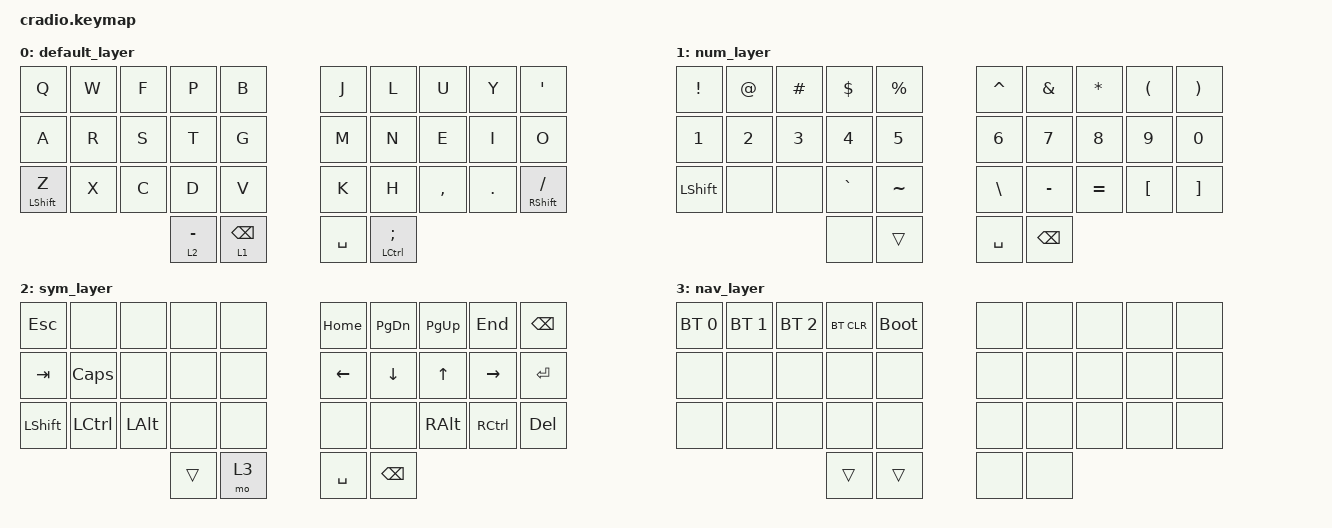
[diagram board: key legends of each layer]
/*
 * Copyright (c) 2020 The ZMK Contributors
 *
 * SPDX-License-Identifier: MIT
 */

#include <behaviors.dtsi>
#include <dt-bindings/zmk/keys.h>
#include <dt-bindings/zmk/bt.h>


#define DEFAULT 0
#define NUM     1
#define SYM     2
#define NAV     3
#define QWERTY  4
/ {         
     behaviors {
          hm: homerow_mods {
                  compatible = "zmk,behavior-hold-tap";
                  label = "HOMEROW_MODS";
                  #binding-cells = <2>;
                  tapping-term-ms = <150>;
                  quick-tap-ms = <100>;
                  flavor = "tap-preferred";
                  bindings = <&kp>, <&kp>;
		  
        };
};
    
        
    };
    
/ {
   keymap {
           compatible = "zmk,keymap";
                
       	default_layer {
	bindings = <
	&kp Q        &kp W  &kp F  &kp P  &kp B     &kp J  &kp  L  &kp U      &kp Y    &kp APOS
	&kp A        &kp R  &kp S  &kp T  &kp G     &kp M  &kp  N  &kp E      &kp I    &kp O
	&mt LSHFT Z  &kp X  &kp C  &kp D  &kp V     &kp K  &kp  H  &kp COMMA  &kp DOT  &mt RSHFT FSLH
       		         &lt 2 MINUS &lt 1 BSPC     &kp SPACE &mt LCTRL SEMI 
		>;
		};

       	num_layer {
	bindings = <
	&kp EXCL   &kp AT  &kp POUND  &kp DLLR   &kp PRCNT     &kp CARET &kp AMPS   &kp ASTRK  &kp LPAR  &kp RPAR
	&kp N1     &kp N2  &kp N3     &kp N4     &kp N5        &kp N6    &kp N7     &kp N8     &kp N9    &kp N0 
	&kp LSHFT  &none   &none      &kp GRAVE  &kp TILDE     &kp BSLH  &kp MINUS  &kp EQUAL  &kp LBKT  &kp RBKT
	                              &none      &trans        &kp SPACE &kp BSPC 
		>; 
		};
		
	sym_layer {
	bindings = <
	&kp ESC    &none      &none     &none   &none      &kp HOME  &kp PG_DN  &kp PG_UP  &kp END    &kp BSPC 
	&kp TAB    &kp CAPS   &none     &none   &none      &kp LEFT  &kp DOWN   &kp UP     &kp RIGHT  &kp RET
	&kp LSHFT  &kp LCTRL  &kp LALT  &none   &none      &none     &none      &kp RALT   &kp RCTRL  &kp DEL
                                    &trans  &mo 3      &kp SPACE &kp BSPC
		>;
		};
		
	nav_layer {
	bindings = <
	&bt BT_SEL 0 &bt BT_SEL 1 &bt BT_SEL 2 &bt BT_CLR &bootloader     &none  &none  &none  &none  &none 
	&none        &none        &none        &none      &none           &none  &none  &none  &none  &none
	&none        &none        &none        &none      &none           &none  &none  &none  &none  &none
                                           &trans     &trans          &none  &none
		>;
		};	
		

    
	
	};
};
